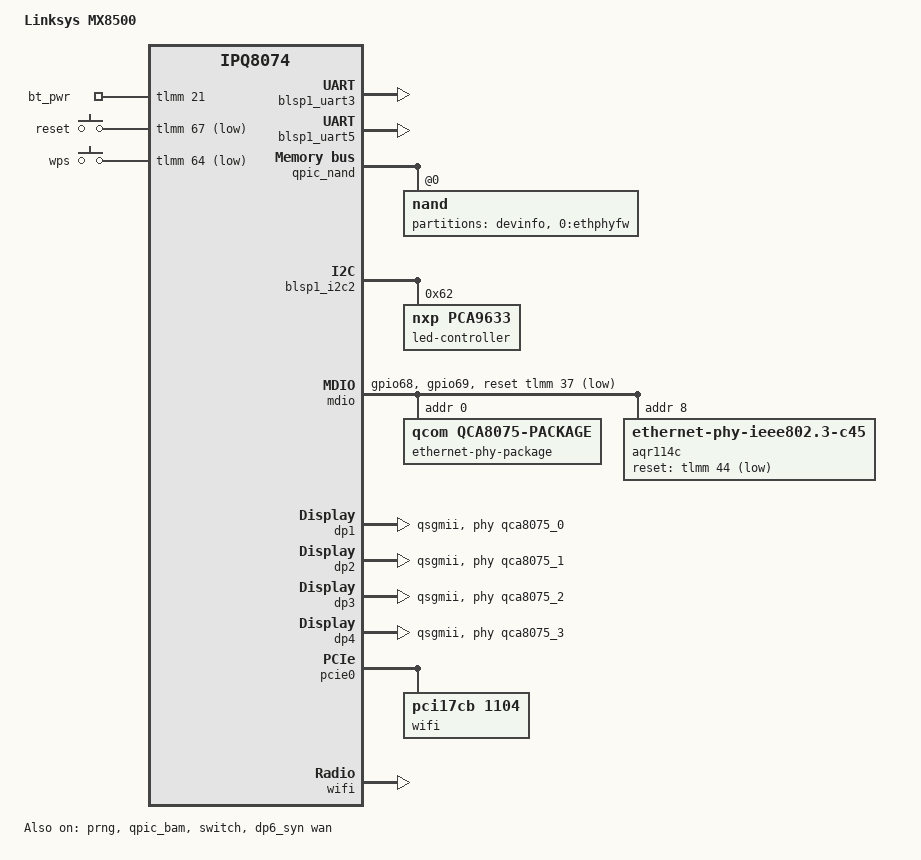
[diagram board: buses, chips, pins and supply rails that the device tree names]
// SPDX-License-Identifier: GPL-2.0-or-later OR MIT

/dts-v1/;

#include "ipq8074.dtsi"
#include "ipq8074-ess.dtsi"
#include "ipq8074-nss.dtsi"
#include "ipq8074-common.dtsi"
#include "ipq8074-hk-cpu.dtsi"

#include <dt-bindings/gpio/gpio.h>
#include <dt-bindings/input/input.h>
#include <dt-bindings/leds/common.h>

/ {
	model = "Linksys MX8500";
	compatible = "linksys,mx8500", "qcom,ipq8074";

	aliases {
		serial0 = &blsp1_uart5;
		serial1 = &blsp1_uart3;

		led-boot = &led_system_blue;
		led-running = &led_system_blue;
		led-failsafe = &led_system_red;
		led-upgrade = &led_system_green;
	};

	chosen {
		stdout-path = "serial0:115200n8";
		bootargs-append = " root=/dev/ubiblock0_0";
	};

	gpio-export {
		compatible = "gpio-export";

		bt_pwr {
			gpio-export,name = "bt_pwr";
			gpio-export,output = <1>;
			gpios = <&tlmm 21 GPIO_ACTIVE_HIGH>;
		};
	};

	keys {
		compatible = "gpio-keys";

		reset-button {
			label = "reset";
			gpios = <&tlmm 67 GPIO_ACTIVE_LOW>;
			linux,code = <KEY_RESTART>;
		};

		wps-button {
			label = "wps";
			gpios = <&tlmm 64 GPIO_ACTIVE_LOW>;
			linux,code = <KEY_WPS_BUTTON>;
		};
	};
};

&tlmm {
	button_pins: button-state {
		pins = "gpio64", "gpio67";
		function = "gpio";
		drive-strength = <8>;
		bias-pull-up;
	};

	mx8500_mdio_pins: mdio-state {
		mdc-pins {
			pins = "gpio68";
			function = "mdc";
			drive-strength = <8>;
			bias-pull-up;
		};

		mdio-pins {
			pins = "gpio69";
			function = "mdio";
			drive-strength = <8>;
			bias-pull-up;
		};
	};
};

&blsp1_uart3 {
	status = "okay";
};

&blsp1_uart5 {
	status = "okay";
};

&prng {
	status = "okay";
};

&qpic_bam {
	status = "okay";
};
&qpic_nand {
	status = "okay";

	/*
	 * Bootloader will find the NAND DT node by the compatible and
	 * then "fixup" it by adding the partitions from the SMEM table
	 * using the legacy bindings thus making it impossible for us
	 * to change the partition table or utilize NVMEM for calibration.
	 * So add a dummy partitions node that bootloader will populate
	 * and set it as disabled so the kernel ignores it instead of
	 * printing warnings due to the broken way bootloader adds the
	 * partitions.
	 */
	partitions {
		status = "disabled";
	};

	nand@0 {
		reg = <0>;

		nand-ecc-strength = <4>;
		nand-ecc-step-size = <512>;
		nand-bus-width = <8>;

		partitions {
			compatible = "qcom,smem-part";

			partition-devinfo {
				label = "devinfo";
				read-only;

				nvmem-layout {
					compatible = "ascii-eq-delim-env";

					hw_mac_addr: hw_mac_addr {
						compatible = "mac-base";
						#nvmem-cell-cells = <1>;
					};
				};
			};

			partition-0-ethphyfw {
				label = "0:ethphyfw";
				read-only;

				nvmem-layout {
					compatible = "fixed-layout";
					#address-cells = <1>;
					#size-cells = <1>;

					aqr_fw: firmware@0 {
						/* Skip the QCOM MBN Header of 40 bytes */
						reg = <0x28 0x60002>;
					};
				};
			};
		};
	};
};

&blsp1_i2c2 {
	status = "okay";

	led-controller@62 {
		compatible = "nxp,pca9633";
		#address-cells = <1>;
		#size-cells = <0>;
		reg = <0x62>;
		nxp,hw-blink;

		led_system_red: led@0 {
			reg = <0>;
			color = <LED_COLOR_ID_RED>;
			function = LED_FUNCTION_STATUS;
		};

		led_system_green: led@1 {
			reg = <1>;
			color = <LED_COLOR_ID_GREEN>;
			function = LED_FUNCTION_STATUS;
		};

		led_system_blue: led@2 {
			reg = <2>;
			color = <LED_COLOR_ID_BLUE>;
			function = LED_FUNCTION_STATUS;
		};
	};
};

&mdio {
	status = "okay";

	pinctrl-0 = <&mx8500_mdio_pins>;
	pinctrl-names = "default";
	reset-gpios = <&tlmm 37 GPIO_ACTIVE_LOW>;

	ethernet-phy-package@0 {
		compatible = "qcom,qca8075-package";
		qcom,package-mode = "qsgmii";
		#address-cells = <1>;
		#size-cells = <0>;
		reg = <0>;

		qca8075_0: ethernet-phy@0 {
			compatible = "ethernet-phy-ieee802.3-c22";
			reg = <0>;
		};

		qca8075_1: ethernet-phy@1 {
			compatible = "ethernet-phy-ieee802.3-c22";
			reg = <1>;
		};

		qca8075_2: ethernet-phy@2 {
			compatible = "ethernet-phy-ieee802.3-c22";
			reg = <2>;
		};

		qca8075_3: ethernet-phy@3 {
			compatible = "ethernet-phy-ieee802.3-c22";
			reg = <3>;
		};
	};

	aqr114c: ethernet-phy@8 {
		compatible = "ethernet-phy-ieee802.3-c45";
		reg = <8>;
		reset-gpios = <&tlmm 44 GPIO_ACTIVE_LOW>;
		firmware-name = "marvell/AQR-G4_v5.6.5-AQR_WNC_SAQA-L2_GT_ID45287_VER24005.cld";
		nvmem-cells = <&aqr_fw>;
		nvmem-cell-names = "firmware";
	};
};

&switch {
	status = "okay";

	switch_lan_bmp = <(ESS_PORT1 | ESS_PORT2 | ESS_PORT3 | ESS_PORT4)>; /* lan port bitmap */
	switch_wan_bmp = <ESS_PORT6>; /* wan port bitmap */
	switch_mac_mode = <MAC_MODE_QSGMII>; /* mac mode for uniphy instance0*/
	switch_mac_mode2 = <MAC_MODE_USXGMII>; /* mac mode for uniphy instance2*/

	qcom,port_phyinfo {
		port@1 {
			port_id = <1>;
			phy_address = <0>;
		};

		port@2 {
			port_id = <2>;
			phy_address = <1>;
		};

		port@3 {
			port_id = <3>;
			phy_address = <2>;
		};

		port@4 {
			port_id = <4>;
			phy_address = <3>;
		};

		port@6 {
			port_id = <6>;
			phy_address = <8>;
			compatible = "ethernet-phy-ieee802.3-c45";
			ethernet-phy-ieee802.3-c45;
		};
	};
};

&edma {
	status = "okay";
};

&dp1 {
	status = "okay";
	phy-mode = "qsgmii";
	phy-handle = <&qca8075_0>;
	label = "lan1";
	nvmem-cells = <&hw_mac_addr 1>;
	nvmem-cell-names = "mac-address";
};

&dp2 {
	status = "okay";
	phy-mode = "qsgmii";
	phy-handle = <&qca8075_1>;
	label = "lan2";
	nvmem-cells = <&hw_mac_addr 1>;
	nvmem-cell-names = "mac-address";
};

&dp3 {
	status = "okay";
	phy-mode = "qsgmii";
	phy-handle = <&qca8075_2>;
	label = "lan3";
	nvmem-cells = <&hw_mac_addr 1>;
	nvmem-cell-names = "mac-address";
};

&dp4 {
	status = "okay";
	phy-mode = "qsgmii";
	phy-handle = <&qca8075_3>;
	label = "lan4";
	nvmem-cells = <&hw_mac_addr 1>;
	nvmem-cell-names = "mac-address";
};

&dp6_syn {
	status = "okay";
	phy-handle = <&aqr114c>;
	label = "wan";
	nvmem-cells = <&hw_mac_addr 0>;
	nvmem-cell-names = "mac-address";
};

&pcie0 {
	status = "okay";
	perst-gpios = <&tlmm 61 GPIO_ACTIVE_LOW>;

	pcie@0 {
		wifi@0,0 {
			status = "okay";
			compatible = "pci17cb,1104";
			qcom,ath11k-fw-memory-mode = <1>;
			qcom,ath11k-calibration-variant = "Linksys-MX8500";
			reg = <0x00010000 0 0 0 0>;
		};
	};
};

&wifi {
	status = "okay";
	qcom,ath11k-fw-memory-mode = <1>;
	qcom,ath11k-calibration-variant = "Linksys-MX8500";
};
